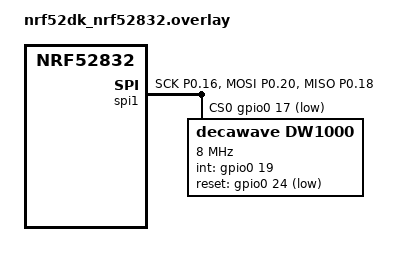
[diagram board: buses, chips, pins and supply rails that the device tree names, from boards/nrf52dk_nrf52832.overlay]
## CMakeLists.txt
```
cmake_minimum_required(VERSION 3.20.0)

# *** NOTE — Why we do NOT use add_subdirectory() here ***
#
# See samples/dw1000_config/CMakeLists.txt for the full rationale: samples
# live outside the NCS module tree, so zephyr_library() inside
# drivers/dw1000/CMakeLists.txt would be compiled but never linked if pulled
# in via add_subdirectory(). Instead, compile the driver sources directly
# into the 'app' target, same as every other sample in this repo.

find_package(Zephyr REQUIRED HINTS $ENV{ZEPHYR_BASE})
project(tag_join_track_sample VERSION 0.1.0)

set(DW1000_DIR ${CMAKE_CURRENT_SOURCE_DIR}/../../drivers/dw1000)

target_sources(app PRIVATE
    src/main.c
    ${DW1000_DIR}/deca_driver/deca_device.c
    ${DW1000_DIR}/deca_driver/deca_params_init.c
    ${DW1000_DIR}/port/deca_port.c   # strong SPI/GPIO port defs (no stub needed)
    ${DW1000_DIR}/dw1000_config.c
    ${DW1000_DIR}/dw1000_ranging.c
    ${DW1000_DIR}/dw1000_sync.c
    ${DW1000_DIR}/uwb_cycle_ref.c
    ${DW1000_DIR}/uwb_slot_timing.c
    ${DW1000_DIR}/uwb_blink_codec.c
    ${DW1000_DIR}/uwb_join_codec.c
    ${DW1000_DIR}/uwb_join.c
    ${DW1000_DIR}/uwb_tracking.c
    ${DW1000_DIR}/uwb_join_track.c
)

target_include_directories(app PRIVATE
    ${DW1000_DIR}/deca_driver   # deca_device_api.h, deca_regs.h
    ${DW1000_DIR}/port          # deca_port.h
    ${DW1000_DIR}               # dw1000_config.h, phy_config.h, dw1000_ranging.h,
                                 # dw1000_sync.h, uwb_cycle_ref.h, uwb_slot_timing.h,
                                 # uwb_blink_codec.h, uwb_join_codec.h, uwb_join.h,
                                 # uwb_tracking.h, uwb_join_track.h, uwb_frames.h
)

# deca_port.c includes <zephyr/drivers/spi.h> which pulls in offsets.h
# (generated at build time). Same dependency as in drivers/dw1000/CMakeLists.
add_dependencies(app offsets_h)
```

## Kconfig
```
# samples/tag_join_track/Kconfig
#
# Kconfig root for the tag_join_track sample.
#
# Zephyr's build system uses APPLICATION_SOURCE_DIR/Kconfig as the Kconfig root
# when it exists. Because samples live outside the repo root, they need their
# own Kconfig to source the DW1000 driver config at the correct relative path.
#
# Deliberately NO short_addr / slot_idx / slot_count / slot_duration_dtu
# options here (contrast samples/tag_tracking/Kconfig's
# TAG_TRACKING_SAMPLE_SELF_ADDR / _SLOT_IDX / _SLOT_COUNT /
# _SLOT_DURATION_DTU placeholders) -- this sample's whole point (UWB-263) is
# that those values come ONLY from the adopted SLOT_ASSIGNMENT at runtime,
# never from injected/compile-time config.

source "$(ZEPHYR_BASE)/Kconfig"
source "$(APPLICATION_SOURCE_DIR)/../../drivers/dw1000/Kconfig"

config TAG_JOIN_TRACK_SAMPLE_REFERENCE_ROLE
	bool "This tag is a Phase-1 calibration reference tag"
	default n
	help
	  Sets the UWB_JOIN_CAP_ROLE_REFERENCE capability bit
	  (drivers/dw1000/uwb_frames.h) in every JOIN_REQUEST this tag sends,
	  per ADR-0039. Purely informational to the registrar; this sample's
	  own join -> track behaviour does not change based on this flag.

config TAG_JOIN_TRACK_SAMPLE_GATE_CYCLES
	int "Bounded network-alive gate window before the first JOIN_REQUEST (superframe cycles)"
	default 0
	range 0 255
	help
	  Forwarded to uwb_join_config_t::gate_cycles (drivers/dw1000/uwb_join.h).
	  0 disables the gate -- the tag issues its first JOIN_REQUEST
	  immediately rather than first confirming a live network via >=1
	  SYNC frame. See uwb_join.h's GATE phase doc for the rationale.

config TAG_JOIN_TRACK_SAMPLE_AWAIT_CYCLES
	int "Cycles to wait for a matching SLOT_ASSIGNMENT per join attempt"
	default 4
	range 1 255
	help
	  Forwarded to uwb_join_config_t::await_cycles. ADR-0039
	  contract-suggested range: 3-5 superframe cycles.

config TAG_JOIN_TRACK_SAMPLE_BACKOFF_BASE_CYCLES
	int "Join retry backoff window at attempt 0 (superframe cycles)"
	default 2
	range 1 65535
	help
	  Forwarded to uwb_join_config_t::backoff_base_cycles (W_base in
	  ADR-0039's truncated-exponential backoff: window = min(W_base
	  << attempt, W_max)).

config TAG_JOIN_TRACK_SAMPLE_BACKOFF_MAX_CYCLES
	int "Join retry backoff window growth cap (superframe cycles)"
	default 64
	range 1 65535
	help
	  Forwarded to uwb_join_config_t::backoff_max_cycles (W_max in
	  ADR-0039's truncated-exponential backoff).

config TAG_JOIN_TRACK_SAMPLE_MAX_ATTEMPTS
	int "Give-up-and-restart cap on consecutive failed join attempts (0 = unlimited)"
	default 0
	range 0 65535
	help
	  Forwarded to uwb_join_config_t::max_attempts. 0 means the tag
	  never gives up -- it keeps retrying (with the backoff window
	  capped at _BACKOFF_MAX_CYCLES) until it joins. A non-zero value
	  causes a full restart (attempt counter reset, back to the gate /
	  first request) after this many consecutive failed attempts -- see
	  uwb_join.h's "give-up-and-restart" doc.

config TAG_JOIN_TRACK_SAMPLE_SYNC_TIMEOUT_US
	int "RX timeout for the join gate's SYNC listen, and for each tracking cycle's SYNC listen (microseconds)"
	default 50000
	range 0 4000000
	help
	  Forwarded to uwb_join_config_t::sync_timeout_us (join gate phase)
	  AND uwb_join_track_config_t::tracking_sync_timeout_us (every
	  tracking-phase cycle, once joined) -- both listens are for the
	  same master SYNC frame, so this sample uses one knob for both.

	  Units: microseconds. Default 50,000 us (50 ms): comfortably longer
	  than one superframe cycle at typical slot/count values, matching
	  samples/tag_tracking's CONFIG_TAG_TRACKING_SAMPLE_SYNC_TIMEOUT_US
	  default. Tune empirically once the real superframe cadence (UWB-9)
	  is fixed.

config TAG_JOIN_TRACK_SAMPLE_ASSIGNMENT_TIMEOUT_US
	int "RX timeout waiting for a SLOT_ASSIGNMENT within each join AWAIT window (microseconds)"
	default 50000
	range 0 4000000
	help
	  Forwarded to uwb_join_config_t::assignment_timeout_us.

config TAG_JOIN_TRACK_SAMPLE_TX_MARGIN_DTU
	int "Margin added to 'now' when scheduling a JOIN_REQUEST's delayed TX (DW1000 time units, DTU)"
	default 127795200
	range 0 2000000000
	help
	  Forwarded to uwb_join_config_t::tx_margin_dtu -- see uwb_join.h's
	  "Injected seams" section for why a JOIN_REQUEST still goes through
	  dw1000_delayed_tx_time(now_get(), tx_margin_dtu) (dw1000_tx_at()
	  supports delayed TX only, no "transmit immediately" primitive).

	  Units: DW1000 time units (DTU). 1 DTU = 1 / (128 x 499.2 MHz)
	  ~= 15.65 ps. Default 127,795,200 DTU ~= 2 ms, the same order of
	  magnitude as CONFIG_UWB_TWR_RESP_REPLY_DELAY_DTU
	  (drivers/dw1000/Kconfig) -- comfortably longer than the CPU
	  processing time between reading "now" and the DW1000 actually
	  arming the scheduled TX.
```

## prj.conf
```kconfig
# samples/tag_join_track/prj.conf
# Join -> tracking sample — project configuration

# ---------------------------------------------------------------------------
# DW1000 UWB transceiver driver
# ---------------------------------------------------------------------------
CONFIG_DW1000=y
CONFIG_SPI=y
CONFIG_GPIO=y

# ---------------------------------------------------------------------------
# Entropy / RNG — backs the join state machine's injected rng() callback
# (uwb_join_config_t::rng, ADR-0039 truncated-exponential backoff delay draw)
# via Zephyr's sys_rand_get()/sys_rand32_get() (<zephyr/random/random.h>).
# The nRF52832 has a hardware TRNG peripheral; CONFIG_ENTROPY_GENERATOR=y
# auto-selects CONFIG_ENTROPY_NRF5 for this board.
# ---------------------------------------------------------------------------
CONFIG_ENTROPY_GENERATOR=y

# ---------------------------------------------------------------------------
# Logging
# ---------------------------------------------------------------------------
CONFIG_LOG=y
CONFIG_LOG_DEFAULT_LEVEL=3
CONFIG_LOG_BACKEND_RTT=y
CONFIG_USE_SEGGER_RTT=y
CONFIG_LOG_BACKEND_UART=y
CONFIG_BOOT_BANNER=y

# ---------------------------------------------------------------------------
# Console
# ---------------------------------------------------------------------------
CONFIG_SERIAL=y
CONFIG_UART_CONSOLE=y

CONFIG_SYSTEM_WORKQUEUE_STACK_SIZE=2048
```

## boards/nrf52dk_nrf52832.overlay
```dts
/*
 * DWM1001 module overlay for the tag_join_track sample.
 *
 * Identical to samples/dw1000_config/boards/nrf52dk_nrf52832.overlay,
 * samples/dw1000_devid/boards/nrf52dk_nrf52832.overlay,
 * samples/twr_responder/boards/nrf52dk_nrf52832.overlay, and
 * samples/tag_tracking/boards/nrf52dk_nrf52832.overlay. Duplicated because
 * each Zephyr application sources its own board overlay.
 */

#include <zephyr/dt-bindings/gpio/gpio.h>

&pinctrl {
	spi1_default: spi1_default {
		group1 {
			psels = <NRF_PSEL(SPIM_SCK,  0, 16)>,
				<NRF_PSEL(SPIM_MOSI, 0, 20)>,
				<NRF_PSEL(SPIM_MISO, 0, 18)>;
		};
	};

	spi1_sleep: spi1_sleep {
		group1 {
			psels = <NRF_PSEL(SPIM_SCK,  0, 16)>,
				<NRF_PSEL(SPIM_MOSI, 0, 20)>,
				<NRF_PSEL(SPIM_MISO, 0, 18)>;
			low-power-enable;
		};
	};
};

&spi1 {
	compatible = "nordic,nrf-spi";
	status = "okay";
	pinctrl-0 = <&spi1_default>;
	pinctrl-1 = <&spi1_sleep>;
	pinctrl-names = "default", "sleep";
	cs-gpios = <&gpio0 17 GPIO_ACTIVE_LOW>;

	dw1000: dw1000@0 {
		compatible = "decawave,dw1000";
		reg = <0>;
		spi-max-frequency = <8000000>;
		int-gpios   = <&gpio0 19 GPIO_ACTIVE_HIGH>;
		reset-gpios = <&gpio0 24 GPIO_ACTIVE_LOW>;
	};
};
```

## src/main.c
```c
/*! ----------------------------------------------------------------------------
 * @file    main.c
 * @brief   Join -> tracking sample (UWB-263)
 *
 * Runs dw1000_port_init() -> dw1000_configure() -> repeatedly calls
 * uwb_join_track_step() (drivers/dw1000/uwb_join_track.h) once per
 * superframe cycle, logging join attempts/backoff while unassigned, the
 * adopted SLOT_ASSIGNMENT once joined, and every tracking cycle's blink
 * outcome afterwards.
 *
 * Unlike samples/tag_tracking (UWB-252), this sample injects NO slot
 * config -- self_addr / slot_idx / slot_count / slot_duration_dtu come
 * ENTIRELY from the SLOT_ASSIGNMENT this tag receives at runtime (ADR-0039).
 * If this tag never receives a matching assignment, it never leaves the join
 * phase and never transmits a blink.
 *
 * The three injected uwb_join_config_t callbacks are wired to real hardware
 * here (deliberately NOT done by uwb_join.c itself -- see uwb_join.h's
 * "Injected seams" section):
 *   - eui64_get  -> dwt_geteui() (this board's real DW1000 EUI-64 register).
 *   - now_get    -> dwt_readsystimestamphi32() << 8 (the DW1000 40-bit system
 *                    time, exactly the reference dw1000_ranging.h's bring-up
 *                    note suggests for scheduling a delayed TX from "now").
 *   - rng        -> Zephyr's sys_rand32_get() (<zephyr/random/random.h>),
 *                    reduced to a uniform value in [min, max].
 *
 * NOTE: This sample requires an on-target run with a real DWM1001 module
 *       hearing SYNC frames + responding to a JOIN_REQUEST from a
 *       clock-master anchor running the ADR-0039 master-side registrar (the
 *       anchor repo, UWB-260/262) -- see this directory's README.md. For
 *       headless CI verification see tests/join_track/ (ztest, mocked
 *       deca_driver).
 *
 * Build:   west build -b nrf52dk_nrf52832 samples/tag_join_track
 * Flash:   west flash
 *
 * @attention
 * SPDX-License-Identifier: MIT
 * Copyright (c) 2024 Fundamentals UWB project contributors.
 */

#include <stdbool.h>
#include <stdint.h>

#include <zephyr/kernel.h>
#include <zephyr/logging/log.h>
#include <zephyr/random/random.h>

#include "deca_port.h"
#include "dw1000_config.h"
#include "uwb_frames.h"
#include "uwb_join.h"
#include "uwb_join_codec.h"
#include "uwb_join_track.h"
#include "uwb_tracking.h"

LOG_MODULE_REGISTER(tag_join_track_sample, LOG_LEVEL_DBG);

/* ---------------------------------------------------------------------------
 * Injected join-config callbacks -- real hardware wiring (see this file's
 * top-of-file comment).
 * --------------------------------------------------------------------------- */

static void real_eui64_get(uint8_t eui64_out[UWB_EUI64_LEN])
{
    dwt_geteui((uint8 *)eui64_out);
}

static uint64_t real_now_get(void)
{
    /* dw1000_ranging.h's bring-up note: dwt_readsystimestamphi32() << 8 is
     * the documented way to obtain a 40-bit-range "now" reference for
     * dw1000_delayed_tx_time() outside of an RX event (which would otherwise
     * supply the reference via its own timestamp). */
    return (uint64_t)dwt_readsystimestamphi32() << 8;
}

static uint32_t real_rng(uint32_t min, uint32_t max)
{
    uint32_t span;

    if (max <= min) {
        return min;
    }

    span = max - min + 1u; /* inclusive range */
    if (span == 0u) {
        /* max - min + 1 wrapped to 0 only when [min, max] spans the entire
         * uint32_t range -- any draw is valid then. */
        return sys_rand32_get();
    }

    return min + (sys_rand32_get() % span);
}

/* ---------------------------------------------------------------------------
 * Outcome -> string logging helpers
 * --------------------------------------------------------------------------- */

static const char *outcome_str(uwb_join_track_outcome_t outcome)
{
    switch (outcome) {
    case UWB_JOIN_TRACK_JOIN_GATE_LISTENING:
        return "JOIN_GATE_LISTENING";
    case UWB_JOIN_TRACK_JOIN_GATE_SYNC_HEARD:
        return "JOIN_GATE_SYNC_HEARD";
    case UWB_JOIN_TRACK_JOIN_REQUEST_SENT:
        return "JOIN_REQUEST_SENT";
    case UWB_JOIN_TRACK_JOIN_REQUEST_TX_ERROR:
        return "JOIN_REQUEST_TX_ERROR";
    case UWB_JOIN_TRACK_JOIN_AWAIT_TIMEOUT:
        return "JOIN_AWAIT_TIMEOUT";
    case UWB_JOIN_TRACK_JOIN_AWAIT_FOREIGN:
        return "JOIN_AWAIT_FOREIGN";
    case UWB_JOIN_TRACK_JOIN_BACKOFF_WAITING:
        return "JOIN_BACKOFF_WAITING";
    case UWB_JOIN_TRACK_JOINED:
        return "JOINED";
    case UWB_JOIN_TRACK_BLINKED:
        return "BLINKED";
    case UWB_JOIN_TRACK_NO_VALID_REF:
        return "NO_VALID_REF";
    case UWB_JOIN_TRACK_MISSED_WINDOW:
        return "MISSED_WINDOW";
    case UWB_JOIN_TRACK_BUILD_ERROR:
        return "BUILD_ERROR";
    case UWB_JOIN_TRACK_INVALID_ARGS:
        return "INVALID_ARGS";
    default:
        return "UNKNOWN";
    }
}

int main(void)
{
    int ret;
    uwb_join_track_config_t cfg = {0};
    uwb_join_track_state_t state;
    uint32_t cycle = 0;

    cfg.join.eui64_get = real_eui64_get;
    cfg.join.rng = real_rng;
    cfg.join.now_get = real_now_get;
    cfg.join.capabilities =
        IS_ENABLED(CONFIG_TAG_JOIN_TRACK_SAMPLE_REFERENCE_ROLE) ? UWB_JOIN_CAP_ROLE_REFERENCE : 0;
    cfg.join.gate_cycles = (uint32_t)CONFIG_TAG_JOIN_TRACK_SAMPLE_GATE_CYCLES;
    cfg.join.await_cycles = (uint32_t)CONFIG_TAG_JOIN_TRACK_SAMPLE_AWAIT_CYCLES;
    cfg.join.backoff_base_cycles = (uint32_t)CONFIG_TAG_JOIN_TRACK_SAMPLE_BACKOFF_BASE_CYCLES;
    cfg.join.backoff_max_cycles = (uint32_t)CONFIG_TAG_JOIN_TRACK_SAMPLE_BACKOFF_MAX_CYCLES;
    cfg.join.max_attempts = (uint32_t)CONFIG_TAG_JOIN_TRACK_SAMPLE_MAX_ATTEMPTS;
    cfg.join.sync_timeout_us = (uint32_t)CONFIG_TAG_JOIN_TRACK_SAMPLE_SYNC_TIMEOUT_US;
    cfg.join.assignment_timeout_us =
        (uint32_t)CONFIG_TAG_JOIN_TRACK_SAMPLE_ASSIGNMENT_TIMEOUT_US;
    cfg.join.tx_margin_dtu = (uint32_t)CONFIG_TAG_JOIN_TRACK_SAMPLE_TX_MARGIN_DTU;

    cfg.tracking_sync_timeout_us = (uint32_t)CONFIG_TAG_JOIN_TRACK_SAMPLE_SYNC_TIMEOUT_US;

    LOG_INF("Join+track sample starting -- capabilities=0x%02X, gate_cycles=%u, "
            "await_cycles=%u, backoff=[%u,%u], max_attempts=%u",
            cfg.join.capabilities, (unsigned)cfg.join.gate_cycles,
            (unsigned)cfg.join.await_cycles, (unsigned)cfg.join.backoff_base_cycles,
            (unsigned)cfg.join.backoff_max_cycles, (unsigned)cfg.join.max_attempts);

    ret = dw1000_port_init();
    if (ret < 0) {
        LOG_ERR("dw1000_port_init failed: %d", ret);
        return ret;
    }

    ret = dw1000_configure();
    if (ret < 0) {
        LOG_ERR("dw1000_configure failed: %d -- check SPI wiring", ret);
        return ret;
    }

    LOG_INF("dw1000_configure() OK -- entering join phase (NO injected slot "
            "config -- address/slot come only from the adopted "
            "SLOT_ASSIGNMENT)");

    uwb_join_track_state_init(&state, &cfg);

    while (1) {
        bool was_tracking = uwb_join_track_is_tracking(&state);
        uwb_join_track_outcome_t outcome = uwb_join_track_step(&cfg, &state);

        cycle++;

        if (outcome == UWB_JOIN_TRACK_JOINED) {
            LOG_INF("cycle %u: JOINED -- adopted short_addr=0x%04X slot=%u/%u "
                    "slot_duration_dtu=%u -- entering track phase",
                    (unsigned)cycle, state.tracking_cfg.self_addr,
                    (unsigned)state.tracking_cfg.slot_idx,
                    (unsigned)state.tracking_cfg.slot_count,
                    (unsigned)state.tracking_cfg.slot_duration_dtu);
        } else if (!was_tracking) {
            /* Still in the join phase -- log attempts/backoff at INF so
             * bring-up progress is visible without bumping the whole board
             * to DBG. */
            LOG_INF("cycle %u: %s (still joining)", (unsigned)cycle,
                    outcome_str(outcome));
        } else if (outcome == UWB_JOIN_TRACK_BLINKED) {
            LOG_INF("cycle %u: blink_count=%u: %s", (unsigned)cycle,
                    (unsigned)state.tracking_state.blink_count, outcome_str(outcome));
        } else {
            LOG_WRN("cycle %u: %s", (unsigned)cycle, outcome_str(outcome));
        }
    }

    /* Unreachable; main() returning is treated as an error in Zephyr. */
    return 0;
}
```
